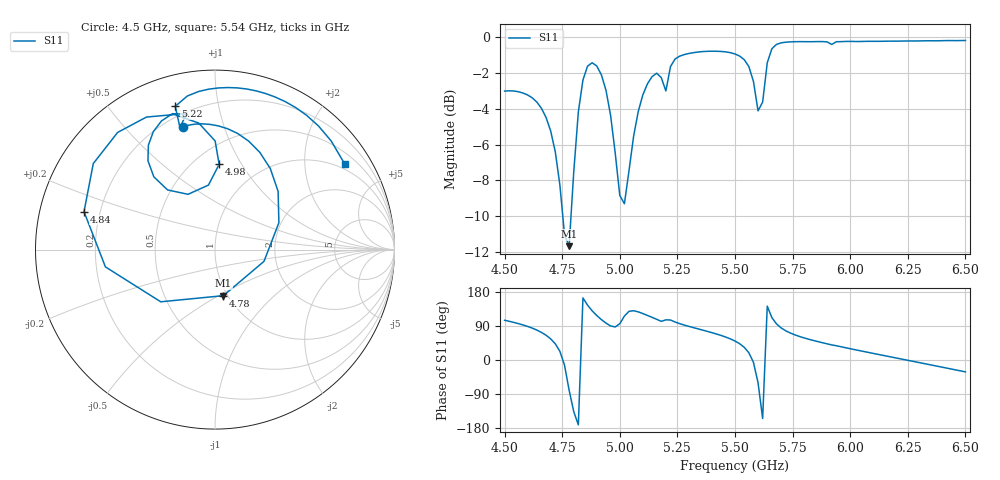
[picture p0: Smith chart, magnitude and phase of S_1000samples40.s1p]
! TOUCHSTONE file generated by CST MICROWAVE STUDIO
! Date and time: Wed Oct 26 19:08:34 2022
! Project name: L.cst
! Parameters = {Di=1.27; Epsilon_r=1.56; InnerDiameter=1.27; Length=2; Lf=10; Lg=60; OuterConductorThickness=0.2921; OuterDiameter=3.6; Wf=3; Wp=41.2; de=1.5; df=6.8; g=0.8; gx=0.615818; gy=3.04157; h=2.34; hf=1.524; px=14.8725; py=8.99888; w=9.7; wx=14.2567; wy=5.95731}
! Header version: 2018
! Port assignment regex: !\s*Touchstone port\s*([0-9]+)\s*=\s*(CST MWS port|CST DS port)\s*([0-9]+|Zmin|Zmax)\s*\(\"(.*)\"\)(\s*mode\s*([0-9]+))?.*
! Touchstone port assignment:
! Touchstone port 1 = CST MWS port 1 ("")
# GHz S DB R 50
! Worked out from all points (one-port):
!   101 points, 4.5 GHz to 6.5 GHz, reference 50 ohm
!   lowest |S11| = -11.7 dB at 4.78 GHz (marker M1), VSWR 1.71, Z = 47.8 - j26.3 ohm
!   |S11| at or under -10 dB: 4.753 GHz to 4.788 GHz (35.58 MHz wide, 0.746 % of centre)
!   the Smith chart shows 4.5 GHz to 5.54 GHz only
!   S11 on the Smith chart (normalised r, x): 4.5 GHz: 0.27, +0.73; 4.78 GHz: 0.96, -0.53; 4.84 GHz: 0.14, +0.14; 4.98 GHz: 0.66, +0.80; 5.22 GHz: 0.15, +0.75; 5.54 GHz: 0.82, +3.12
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4.5  -3.01 104.8
4.66  -3.97 72.8
4.72  -6.40 42.7
4.76  -11.03 -13.5
4.78  -11.67 -79.6
4.8  -7.55 -136.1
4.84  -2.39 163.8
4.9  -1.60 117.4
4.94  -2.96 97.4
4.98  -6.46 87.2
5  -8.84 95.8
5.08  -4.15 127.0
5.18  -2.26 102.0
5.22  -1.64 105.5
5.26  -1.05 95.9
5.4  -0.78 72.1
5.5  -0.93 50.1
5.54  -1.25 33.5
5.58  -2.46 -6.0
5.6  -4.11 -59.9
5.62  -3.62 -154.3
5.64  -1.42 142.2
5.66  -0.64 111.9
5.68  -0.40 95.3
5.76  -0.25 66.3
6  -0.23 29.8
6.26  -0.21 -2.0
6.5  -0.18 -31.3
